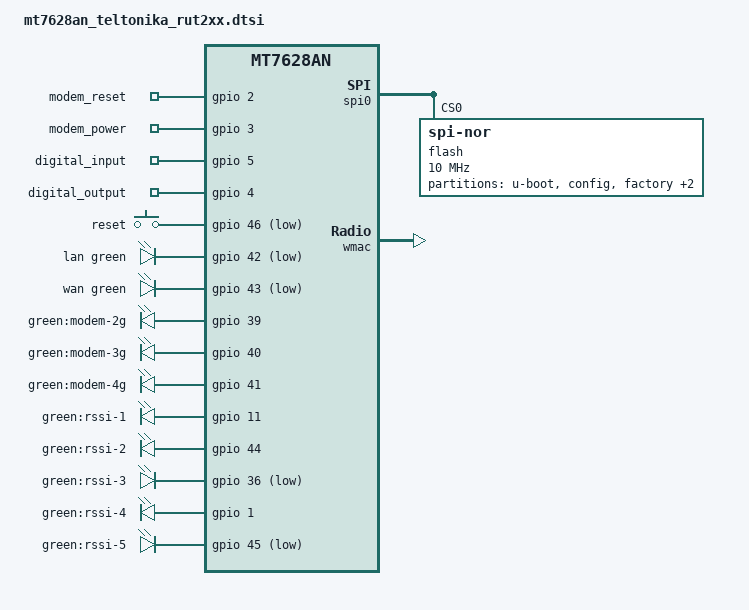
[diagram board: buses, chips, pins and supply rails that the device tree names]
// SPDX-License-Identifier: GPL-2.0-or-later OR MIT

#include <dt-bindings/input/input.h>
#include <dt-bindings/gpio/gpio.h>
#include <dt-bindings/leds/common.h>
#include "mt7628an.dtsi"

/ {
	chosen {
		bootargs = "console=ttyS0,115200";
	};

	aliases {
		led-boot = &rssi1;
		led-failsafe = &rssi1;
		led-upgrade = &rssi1;
	};

	gpio-export {
		compatible = "gpio-export";

		gpio_modem_reset {
			gpio-export,name = "modem_reset";
			gpio-export,output = <0>;
			gpios = <&gpio 2 GPIO_ACTIVE_HIGH>;
		};

		gpio_modem_power {
			gpio-export,name = "modem_power";
			gpio-export,output = <0>;
			gpios = <&gpio 3 GPIO_ACTIVE_HIGH>;
		};

		gpio_din {
			gpio-export,name = "digital_input";
			gpio-export,input = <0>;
			gpios = <&gpio 5 GPIO_ACTIVE_HIGH>;
		};

		gpio_dout {
			gpio-export,name = "digital_output";
			gpio-export,output = <0>;
			gpios = <&gpio 4 GPIO_ACTIVE_HIGH>;
		};
	};

	keys {
		compatible = "gpio-keys";

		reset {
			label = "reset";
			gpios = <&gpio 46 GPIO_ACTIVE_LOW>;
			linux,code = <KEY_RESTART>;
		};
	};

	leds {
		compatible = "gpio-leds";

		lan {
			function = LED_FUNCTION_LAN;
			color = <LED_COLOR_ID_GREEN>;
			gpios = <&gpio 42 GPIO_ACTIVE_LOW>;
		};

		wan {
			function = LED_FUNCTION_WAN;
			color = <LED_COLOR_ID_GREEN>;
			gpios = <&gpio 43 GPIO_ACTIVE_LOW>;
		};

		modem_2g {
			gpios = <&gpio 39 GPIO_ACTIVE_HIGH>;
			label = "green:modem-2g";
		};

		modem_3g {
			gpios = <&gpio 40 GPIO_ACTIVE_HIGH>;
			label = "green:modem-3g";
		};

		modem_4g {
			gpios = <&gpio 41 GPIO_ACTIVE_HIGH>;
			label = "green:modem-4g";
		};

		rssi1: rssi1 {
			gpios = <&gpio 11 GPIO_ACTIVE_HIGH>;
			label = "green:rssi-1";
		};

		rssi2 {
			gpios = <&gpio 44 GPIO_ACTIVE_HIGH>;
			label = "green:rssi-2";
		};

		rssi3 {
			gpios = <&gpio 36 GPIO_ACTIVE_LOW>;
			label = "green:rssi-3";
		};

		rssi4 {
			gpios = <&gpio 1 GPIO_ACTIVE_HIGH>;
			label = "green:rssi-4";
		};

		rssi5 {
			gpios = <&gpio 45 GPIO_ACTIVE_LOW>;
			label = "green:rssi-5";
		};
	};
};

&spi0 {
	status = "okay";

	flash@0 {
		compatible = "jedec,spi-nor";
		reg = <0>;
		spi-max-frequency = <10000000>;

		partitions {
			compatible = "fixed-partitions";
			#address-cells = <1>;
			#size-cells = <1>;

			partition@0 {
				label = "u-boot";
				reg = <0x0 0x20000>;
				read-only;
			};

			partition@20000 {
				label = "config";
				reg = <0x020000 0x010000>;
				read-only;

				nvmem-layout {
					compatible = "fixed-layout";
					#address-cells = <1>;
					#size-cells = <1>;

					macaddr_config_0: macaddr@0 {
						reg = <0x0 0x6>;
						compatible = "mac-base";
						#nvmem-cell-cells = <1>;
					};
				};
			};

			partition@30000 {
				label = "factory";
				reg = <0x030000 0x030000>;
				read-only;

				nvmem-layout {
					compatible = "fixed-layout";
					#address-cells = <1>;
					#size-cells = <1>;

					eeprom_factory_0: eeprom@0 {
						reg = <0x20000 0x400>;
					};
				};
			};

			partition@60000 {
				compatible = "denx,uimage";
				label = "firmware";
				reg = <0x060000 0xf10000>;
			};

			partition@f70000 {
				label = "event-log";
				reg = <0xf70000 0x90000>;
				read-only;
			};
		};
	};
};

&state_default {
	gpio {
		groups = "i2s", "uart1", "p4led_an", "p3led_an", "p2led_an", "p1led_an", "p0led_an", "gpio", "wled_an", "perst", "spi cs1";
		function = "gpio";
	};
};

&wmac {
	status = "okay";
	nvmem-cells = <&eeprom_factory_0>, <&macaddr_config_0 2>;
	nvmem-cell-names = "eeprom", "mac-address";
};

&ethernet {
	nvmem-cells = <&macaddr_config_0 0>;
	nvmem-cell-names = "mac-address";
};

&esw {
	mediatek,portmap = <0x3e>;
};
